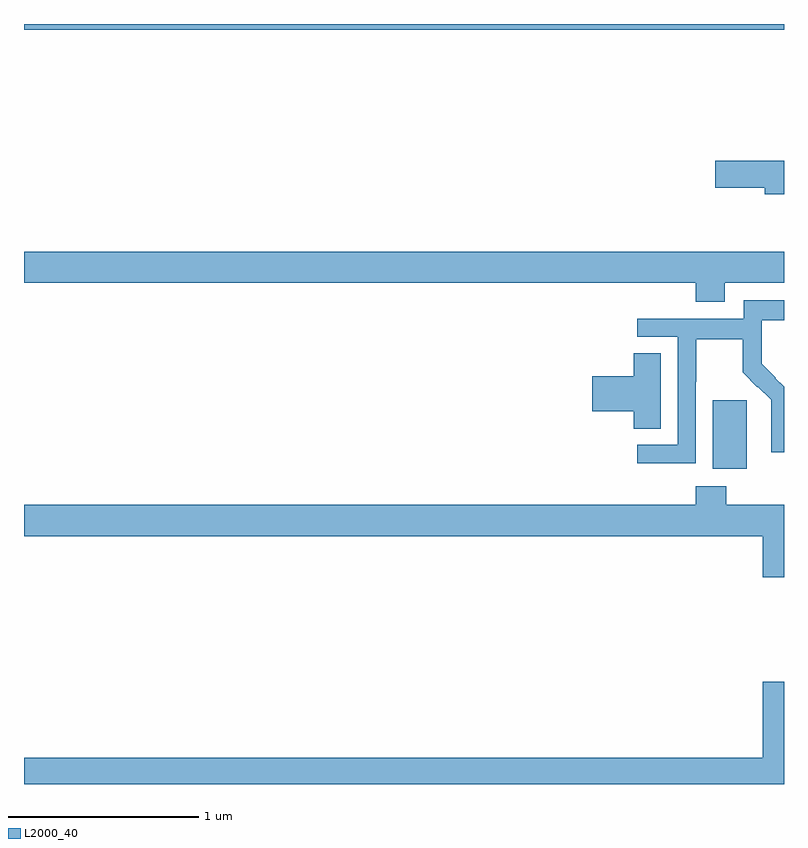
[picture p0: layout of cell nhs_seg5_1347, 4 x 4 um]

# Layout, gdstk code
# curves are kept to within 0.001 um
import gdstk
lib = gdstk.Library(unit=1e-6, precision=1e-09)
def R(c, l, rs):  # rectangles x0, y0, x1, y1
    for r in rs: c.add(gdstk.rectangle(r[:2], r[2:], *l))
def P(c, l, *ps):  # polygons
    for p in ps: c.add(gdstk.Polygon(p, *l))
L2000_40 = (2000, 40)

nhs_seg5_1347 = lib.new_cell('nhs_seg5_1347')
R(nhs_seg5_1347, L2000_40, [(196.625,846.458,196.804,846.819), (193,848.768,197,848.799)])
P(nhs_seg5_1347, L2000_40, [(197,848.078),(196.638,848.078),(196.638,847.936),(196.898,847.936),(196.898,847.902),(197,847.902)],
  [(196.687,847.436),(197,847.436),(197,847.6),(193,847.6),(193,847.436),(196.535,847.436),(196.535,847.337),(196.687,847.337)],
  [(196.536,846.916),(196.539,846.916),(196.539,847.14),(196.783,847.14),(196.783,846.965),(196.86,846.888),(196.863,846.891),(196.934,846.821),(196.934,846.698),(196.932,846.698),(196.932,846.544),(197,846.544),(197,846.89),(196.882,847.01),(196.882,847.107),(196.884,847.107),(196.884,847.241),(197,847.241),(197,847.345),(196.788,847.345),(196.788,847.248),(196.227,847.248),(196.227,847.152),(196.44,847.152),(196.44,846.585),(196.227,846.585),(196.227,846.487),(196.536,846.487)],
  [(196.351,847.067),(196.208,847.067),(196.208,846.944),(195.99,846.944),(195.99,846.761),(196.208,846.761),(196.208,846.67),(196.351,846.67)],
  [(197,846.268),(196.695,846.268),(196.695,846.367),(196.535,846.367),(196.535,846.268),(193,846.268),(193,846.104),(196.889,846.104),(196.889,845.886),(197,845.886)],
  [(193,844.799),(197,844.799),(197,845.338),(196.889,845.338),(196.889,844.936),(193,844.936)])

lib.write_gds('nhs_seg5_1347.gds')
